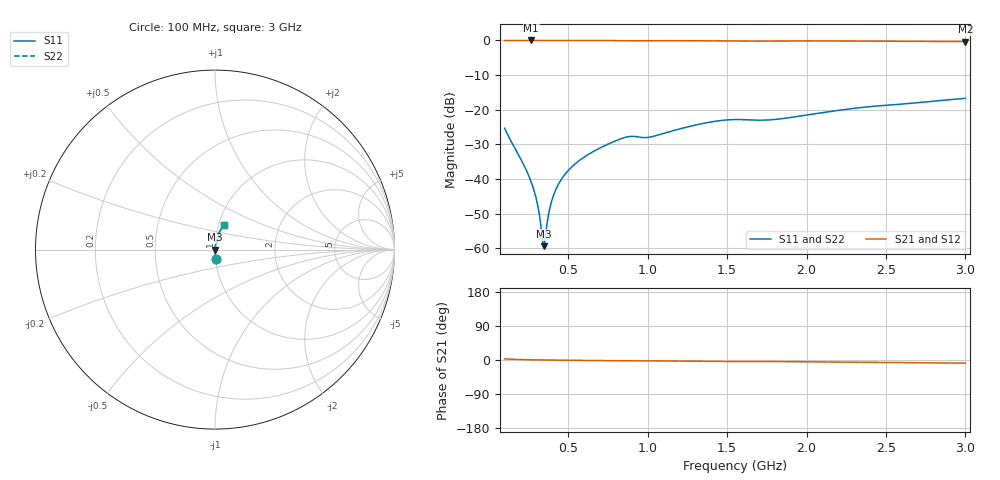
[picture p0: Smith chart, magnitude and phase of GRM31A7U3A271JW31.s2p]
!Murata Part Number: GRM31A7U3A271JW31
!These Parameters are Measured in Series Mode Connection
!Data Generated on Mar 30, 2021
!  o--ll--o
!Port1  Port2
!  o------o
!Operation Temp=25[degC], DC Bias Voltage=0[V]
!Freq. Start=100[MHz] Stop=3[GHz] 401[Steps]
# Hz S RI R 50
!Freq.(Hz) S11(Real) S11(Imag) S21(Real) S21(Imag) S12(Real) S12(Imag) S22(Real) S22(Imag)
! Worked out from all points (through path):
!   401 points, 100 MHz to 3 GHz, reference 50 ohm
!   highest |S21| = -0.01 dB at 266.8 MHz (marker M1); lowest = -0.3 dB at 3 GHz (marker M2)
!   group delay of S21, straight-line fit = 8.4 ps
!   lowest |S11| = -59.4 dB at 346.5 MHz (marker M3), VSWR 1.00, Z = 50.1 + j0 ohm
!   |S11| at or under -10 dB: start of sweep to end of sweep
!   |S22| runs from -59.4 to -16.7 dB; largest |S21 - S12| = 0
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1e8  0.00373 -0.0538  0.9963 0.0538  0.9963 0.0538  0.00373 -0.0538
2.16e8  0.00118 -0.0167  0.9988 0.0167  0.9988 0.0167  0.00118 -0.0167
2.6675e8  0.00104 -0.00905  0.999 0.00905  0.999 0.00905  0.00104 -0.00905
3.03e8  0.00102 -0.00461  0.999 0.00461  0.999 0.00461  0.00102 -0.00461
3.32e8  0.00105 -0.00147  0.999 0.00147  0.999 0.00147  0.00105 -0.00147
3.3925e8  0.00106 -0.000727  0.9989 0.000727  0.9989 0.000727  0.00106 -0.000727
3.465e8  0.00107 0  0.9989 0  0.9989 0  0.00107 0
3.5375e8  0.00109 0.000713  0.9989 -0.000713  0.9989 -0.000713  0.00109 0.000713
3.61e8  0.0011 0.00141  0.9989 -0.00141  0.9989 -0.00141  0.0011 0.00141
3.8275e8  0.00115 0.00344  0.9988 -0.00344  0.9988 -0.00344  0.00115 0.00344
3.9725e8  0.00119 0.00474  0.9988 -0.00474  0.9988 -0.00474  0.00119 0.00474
4.335e8  0.00132 0.00783  0.9987 -0.00783  0.9987 -0.00783  0.00132 0.00783
4.9875e8  0.00162 0.013  0.9984 -0.013  0.9984 -0.013  0.00162 0.013
5.8575e8  0.00221 0.0195  0.9978 -0.0195  0.9978 -0.0195  0.00221 0.0195
8.4675e8  0.0088 0.0381  0.9912 -0.0381  0.9912 -0.0381  0.0088 0.0381
1.0715e9  0.00928 0.0425  0.9907 -0.0425  0.9907 -0.0425  0.00928 0.0425
1.347e9  0.0146 0.0615  0.9854 -0.0615  0.9854 -0.0615  0.0146 0.0615
1.55e9  0.0254 0.0675  0.9746 -0.0675  0.9746 -0.0675  0.0254 0.0675
1.77475e9  0.0232 0.0677  0.9768 -0.0677  0.9768 -0.0677  0.0232 0.0677
2.03575e9  0.0204 0.0837  0.9796 -0.0837  0.9796 -0.0837  0.0204 0.0837
2.5215e9  0.0337 0.1118  0.9663 -0.1118  0.9663 -0.1118  0.0337 0.1118
3e9  0.0477 0.1382  0.9523 -0.1382  0.9523 -0.1382  0.0477 0.1382
